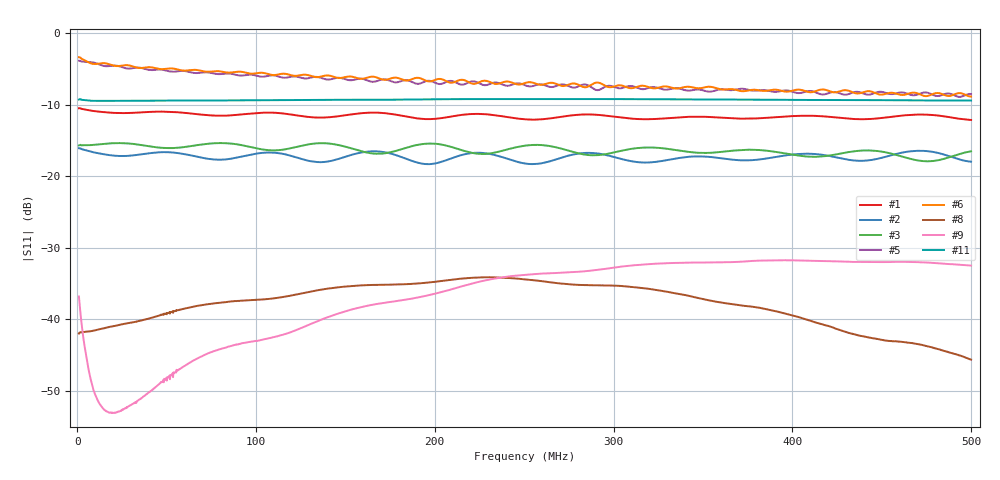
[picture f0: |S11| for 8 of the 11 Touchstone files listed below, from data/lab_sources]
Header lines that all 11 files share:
! MS46122B
! 1746301/73750021
! CHANNEL.1
! TR.MEASUREMENT
! CORRECTED.DATA
# GHZ S RI R 50.0
! FREQ.GHZ  S11RE  S11IM  S21RE  S21IM  S12RE  S12IM  S22RE  S22IM
!; PortSelection: Port_12
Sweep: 1 MHz to 500 MHz
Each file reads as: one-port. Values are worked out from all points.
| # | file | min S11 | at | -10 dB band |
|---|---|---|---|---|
| 1 | c12r27.s2p | -12.1 dB | 500 MHz | over 499 MHz wide |
| 2 | c12r36.s2p | -18.3 dB | 196.6 MHz | over 499 MHz wide |
| 3 | c12r69.s2p | -17.9 dB | 475.5 MHz | over 499 MHz wide |
| 4 | c12r91.s2p | -12.2 dB | 475.8 MHz | over 499 MHz wide |
| 5 | c25r10.s2p | -8.9 dB | 493.5 MHz | - |
| 6 | c25r250.s2p | -8.8 dB | 499.8 MHz | - |
| 7 | cold.s2p | -49.9 dB | 9.233 MHz | over 499 MHz wide |
| 8 | hot.s2p | -45.6 dB | 500 MHz | over 499 MHz wide |
| 9 | noise.s2p | -53.1 dB | 19.46 MHz | over 499 MHz wide |
| 10 | r25.s2p | -10.1 dB | 295.9 MHz | 189.6 MHz wide |
| 11 | r100.s2p | -9.4 dB | 16.22 MHz | - |
